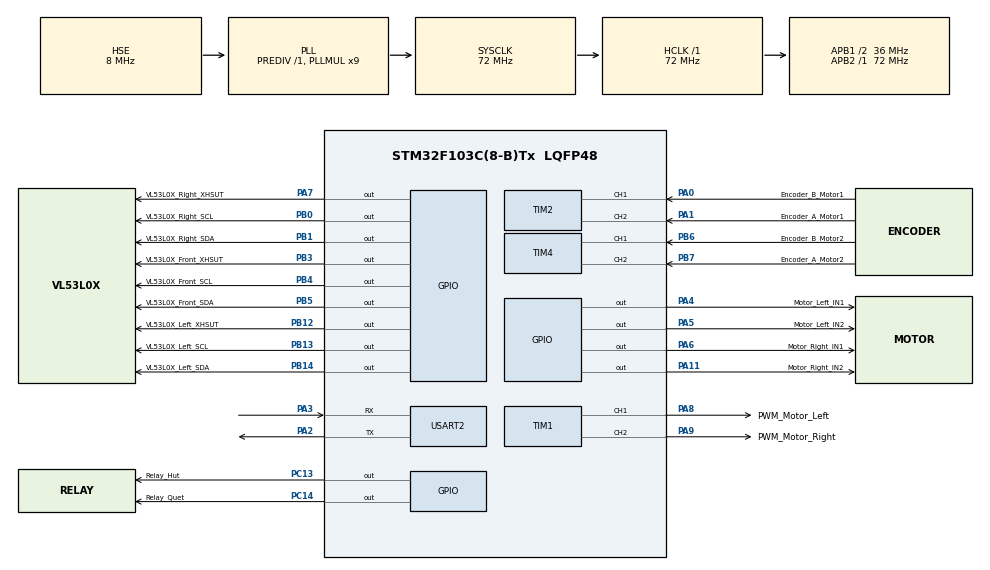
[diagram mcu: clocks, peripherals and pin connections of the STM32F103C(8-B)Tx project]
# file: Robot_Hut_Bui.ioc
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Dma.Request0=USART2_TX
Dma.USART2_TX.0.Direction=DMA_MEMORY_TO_PERIPH
Dma.USART2_TX.0.Instance=DMA1_Channel7
Dma.USART2_TX.0.MemDataAlignment=DMA_MDATAALIGN_BYTE
Dma.USART2_TX.0.MemInc=DMA_MINC_ENABLE
Dma.USART2_TX.0.Mode=DMA_NORMAL
Dma.USART2_TX.0.PeriphDataAlignment=DMA_PDATAALIGN_BYTE
Dma.USART2_TX.0.PeriphInc=DMA_PINC_DISABLE
Dma.USART2_TX.0.Priority=DMA_PRIORITY_LOW
Mcu.Family=STM32F1
Mcu.Name=STM32F103C(8-B)Tx
Mcu.Package=LQFP48
NVIC.DMA1_Channel7_IRQn=true\:0\:0\:false\:false\:true\:false\:true\:true
NVIC.PriorityGroup=NVIC_PRIORITYGROUP_4
NVIC.TIM3_IRQn=true\:2\:0\:true\:false\:true\:true\:true\:true
NVIC.USART2_IRQn=true\:1\:0\:true\:false\:true\:true\:true\:true
PA0-WKUP.GPIO_Label=Encoder_B_Motor1
PA0-WKUP.Signal=S_TIM2_CH1_ETR
PA1.GPIO_Label=Encoder_A_Motor1
PA1.Signal=S_TIM2_CH2
PA11.GPIO_Label=Motor_Right_IN2
PA11.Signal=GPIO_Output
PA13.Mode=Serial_Wire
PA13.Signal=SYS_JTMS-SWDIO
PA14.Mode=Serial_Wire
PA14.Signal=SYS_JTCK-SWCLK
PA2.Mode=Asynchronous
PA2.Signal=USART2_TX
PA3.Mode=Asynchronous
PA3.Signal=USART2_RX
PA4.GPIO_Label=Motor_Left_IN1
PA4.Signal=GPIO_Output
PA5.GPIO_Label=Motor_Left_IN2
PA5.Signal=GPIO_Output
PA6.GPIO_Label=Motor_Right_IN1
PA6.Signal=GPIO_Output
PA7.GPIO_Label=VL53L0X_Right_XHSUT
PA7.Signal=GPIO_Output
PA8.GPIO_Label=PWM_Motor_Left
PA8.Signal=S_TIM1_CH1
PA9.GPIO_Label=PWM_Motor_Right
PA9.Signal=S_TIM1_CH2
PB0.GPIO_Label=VL53L0X_Right_SCL
PB0.GPIO_ModeDefaultOutputPP=GPIO_MODE_OUTPUT_OD
PB0.GPIO_PuPd=GPIO_PULLUP
PB0.GPIO_Speed=GPIO_SPEED_FREQ_HIGH
PB0.PinState=GPIO_PIN_RESET
PB0.Signal=GPIO_Output
PB1.GPIO_Label=VL53L0X_Right_SDA
PB1.GPIO_ModeDefaultOutputPP=GPIO_MODE_OUTPUT_OD
PB1.GPIO_PuPd=GPIO_PULLUP
PB1.GPIO_Speed=GPIO_SPEED_FREQ_HIGH
PB1.PinState=GPIO_PIN_RESET
PB1.Signal=GPIO_Output
PB12.GPIO_Label=VL53L0X_Left_XHSUT
PB12.Signal=GPIO_Output
PB13.GPIO_Label=VL53L0X_Left_SCL
PB13.GPIO_ModeDefaultOutputPP=GPIO_MODE_OUTPUT_OD
PB13.GPIO_PuPd=GPIO_PULLUP
PB13.GPIO_Speed=GPIO_SPEED_FREQ_HIGH
PB13.PinState=GPIO_PIN_RESET
PB13.Signal=GPIO_Output
PB14.GPIO_Label=VL53L0X_Left_SDA
PB14.GPIO_ModeDefaultOutputPP=GPIO_MODE_OUTPUT_OD
PB14.GPIO_PuPd=GPIO_PULLUP
PB14.GPIO_Speed=GPIO_SPEED_FREQ_HIGH
PB14.PinState=GPIO_PIN_RESET
PB14.Signal=GPIO_Output
PB3.GPIO_Label=VL53L0X_Front_XHSUT
PB3.Signal=GPIO_Output
PB4.GPIO_Label=VL53L0X_Front_SCL
PB4.GPIO_ModeDefaultOutputPP=GPIO_MODE_OUTPUT_OD
PB4.GPIO_PuPd=GPIO_PULLUP
PB4.GPIO_Speed=GPIO_SPEED_FREQ_HIGH
PB4.PinState=GPIO_PIN_RESET
PB4.Signal=GPIO_Output
PB5.GPIO_Label=VL53L0X_Front_SDA
PB5.GPIO_ModeDefaultOutputPP=GPIO_MODE_OUTPUT_OD
PB5.GPIO_PuPd=GPIO_PULLUP
PB5.GPIO_Speed=GPIO_SPEED_FREQ_HIGH
PB5.PinState=GPIO_PIN_RESET
PB5.Signal=GPIO_Output
PB6.GPIO_Label=Encoder_B_Motor2
PB6.Signal=S_TIM4_CH1
PB7.GPIO_Label=Encoder_A_Motor2
PB7.Signal=S_TIM4_CH2
PC13-TAMPER-RTC.GPIO_Label=Relay_Hut
PC13-TAMPER-RTC.Signal=GPIO_Output
PC14-OSC32_IN.GPIO_Label=Relay_Quet
PC14-OSC32_IN.Signal=GPIO_Output
PD0-OSC_IN.Mode=HSE-External-Oscillator
PD0-OSC_IN.Signal=RCC_OSC_IN
PD1-OSC_OUT.Mode=HSE-External-Oscillator
PD1-OSC_OUT.Signal=RCC_OSC_OUT
ProjectManager.HeapSize=0x200
ProjectManager.StackSize=0x400
ProjectManager.TargetToolchain=MDK-ARM V5.32
RCC.AHBFreq_Value=72000000
RCC.APB1CLKDivider=RCC_HCLK_DIV2
RCC.APB1Freq_Value=36000000
RCC.APB1TimFreq_Value=72000000
RCC.APB2Freq_Value=72000000
RCC.APB2TimFreq_Value=72000000
RCC.HCLKFreq_Value=72000000
RCC.PLLMUL=RCC_PLL_MUL9
RCC.PLLSourceVirtual=RCC_PLLSOURCE_HSE
RCC.SYSCLKFreq_VALUE=72000000
RCC.SYSCLKSource=RCC_SYSCLKSOURCE_PLLCLK
RCC.USBFreq_Value=72000000
SH.S_TIM1_CH1.0=TIM1_CH1,PWM Generation1 CH1
SH.S_TIM1_CH2.0=TIM1_CH2,PWM Generation2 CH2
SH.S_TIM2_CH1_ETR.0=TIM2_CH1,Encoder_Interface
SH.S_TIM2_CH2.0=TIM2_CH2,Encoder_Interface
SH.S_TIM4_CH1.0=TIM4_CH1,Encoder_Interface
SH.S_TIM4_CH2.0=TIM4_CH2,Encoder_Interface
TIM1.Channel-PWM\ Generation1\ CH1=TIM_CHANNEL_1
TIM1.Channel-PWM\ Generation2\ CH2=TIM_CHANNEL_2
TIM2.EncoderMode=TIM_ENCODERMODE_TI12
TIM3.Period=99
TIM3.Prescaler=7199
USART2.VirtualMode=VM_ASYNC
VP_TIM3_VS_ClockSourceINT.Mode=Internal
board=custom

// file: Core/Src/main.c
/* USER CODE BEGIN Header */
/**
  ******************************************************************************
  * @file           : main.c
  * @brief          : Main program body
  ******************************************************************************
  * @attention
  *
  * Copyright (c) 2026 STMicroelectronics.
  * All rights reserved.
  *
  * This software is licensed under terms that can be found in the LICENSE file
  * in the root directory of this software component.
  * If no LICENSE file comes with this software, it is provided AS-IS.
  *
  ******************************************************************************
  */
/* USER CODE END Header */
#include "main.h"

/* USER CODE BEGIN Includes */
#include "Motor.h"
#include "robot.h"
#include "uart.h"
#include "i2c.h"
#include "distance_sensor.h"
#include <stdarg.h>
#include <stdio.h>
#include <string.h>
/* USER CODE END Includes */

/* USER CODE BEGIN PD */
#define BUFFER_MESSAGE_SIZE 256
/* USER CODE END PD */

TIM_HandleTypeDef htim1;
TIM_HandleTypeDef htim2;
TIM_HandleTypeDef htim3;
TIM_HandleTypeDef htim4;

UART_HandleTypeDef huart2;
DMA_HandleTypeDef hdma_usart2_tx;

/* USER CODE BEGIN PV */
Motor_TypeDef motor_left, motor_right;
Robot_Typedef robot;

pid_typedef pid_left, pid_right;

Soft_I2C_TypeDef i2c_front, i2c_left, i2c_right;
VL53L0X_TypeDef distance_sensor_front, distance_sensor_left, distance_sensor_right;
/* USER CODE END PV */

void SystemClock_Config(void);
static void MX_GPIO_Init(void);
static void MX_DMA_Init(void);
static void MX_TIM1_Init(void);
static void MX_USART2_UART_Init(void);
static void MX_TIM2_Init(void);
static void MX_TIM4_Init(void);
static void MX_TIM3_Init(void);

/* USER CODE BEGIN 0 */
uint8_t data_rx;
uint8_t flag = 0;
uint8_t idx = 0;
volatile uint8_t count = 0;
char buffer[BUFFER_MESSAGE_SIZE];

HAL_StatusTypeDef transmit(const char *format, ...){
	va_list args;
	va_start(args, format);
	vsnprintf(buffer, BUFFER_MESSAGE_SIZE, format, args);
	va_end(args);
	return HAL_UART_Transmit_DMA(&huart2, (uint8_t *)buffer, strlen(buffer));
}

void HAL_UART_RxCpltCallback(UART_HandleTypeDef* huart){
	if(huart->Instance == USART2){
		uart_receive_data(data_rx);
		uart_handle(&robot);
		HAL_UART_Receive_IT(huart, &data_rx, 1);
	}
}

void HAL_TIM_ElapsedCallback(TIM_HandleTypeDef* htim){
	if(htim->Instance == htim3.Instance){
		int16_t encoder_left = (int16_t)htim4.Instance->CNT >> 2;
		htim4.Instance->CNT = 0;
		int16_t encoder_right = (int16_t)htim2.Instance->CNT >> 2;
		htim2.Instance->CNT = 0;

		count++;
		if(count == 4){
			transmit("%.2f %.2f\n", robot.v_left, robot.v_right);
		}
	}
}
/* USER CODE END 0 */

int main(void)
{

  /* MCU Configuration--------------------------------------------------------*/

  /* Reset of all peripherals, Initializes the Flash interface and the Systick. */
  HAL_Init();

  /* Configure the system clock */
  SystemClock_Config();

  /* Initialize all configured peripherals */
  MX_GPIO_Init();
  MX_DMA_Init();
  MX_TIM1_Init();
  MX_USART2_UART_Init();
  MX_TIM2_Init();
  MX_TIM4_Init();
  MX_TIM3_Init();
  /* USER CODE BEGIN 2 */
	/* initialize i2c soft */
	i2c_soft_init(&i2c_front, VL53L0X_Front_SCL_GPIO_Port, VL53L0X_Front_SCL_Pin, VL53L0X_Front_SDA_GPIO_Port, VL53L0X_Front_SDA_Pin);
	i2c_soft_init(&i2c_left, VL53L0X_Left_SCL_GPIO_Port, VL53L0X_Left_SCL_Pin, VL53L0X_Left_SDA_GPIO_Port, VL53L0X_Left_SDA_Pin);
	i2c_soft_init(&i2c_right, VL53L0X_Right_SCL_GPIO_Port, VL53L0X_Right_SCL_Pin, VL53L0X_Right_SDA_GPIO_Port, VL53L0X_Right_SDA_Pin);

	/* initialize distance sensor vl53l0x */
	if(!vl53l0x_init(&distance_sensor_front, &i2c_front, VL53L0X_Right_XHSUT_GPIO_Port, VL53L0X_Right_XHSUT_Pin, FRONT, 0)){
		transmit("Distance Sensor Front Init Fail!\n");
		Error_Handler();
	}
	if(!vl53l0x_init(&distance_sensor_left, &i2c_left, VL53L0X_Left_XHSUT_GPIO_Port, VL53L0X_Left_XHSUT_Pin, LEFT, 0)){
		transmit("Distance Sensor Left Init Fail!\n");
		Error_Handler();
	}
	if(!vl53l0x_init(&distance_sensor_right, &i2c_right, VL53L0X_Right_XHSUT_GPIO_Port, VL53L0X_Right_XHSUT_Pin, RIGHT, 0)){
		transmit("Distance Sensor Right Init Fail!\n");
		Error_Handler();
	}

	/* initialize motor and robot */
	HAL_TIM_Encoder_Start(&htim2, TIM_CHANNEL_ALL);
	HAL_TIM_Encoder_Start(&htim4, TIM_CHANNEL_ALL);
	pid_init(&pid_left, KP_LEFT, KI_LEFT, KD_LEFT, PID_OUTPUT_MIN, PID_OUTPUT_MAX, PID_SAMPLE_TIME);
	pid_init(&pid_right, KP_RIGHT, KI_RIGHT, KD_RIGHT, PID_OUTPUT_MIN, PID_OUTPUT_MAX, PID_SAMPLE_TIME);
	motor_init(&motor_left, &pid_left, Motor_Left_IN1_GPIO_Port, Motor_Left_IN1_Pin, Motor_Left_IN2_GPIO_Port, Motor_Left_IN2_Pin, &htim1, TIM_CHANNEL_1);
	motor_init(&motor_right, &pid_right, Motor_Right_IN1_GPIO_Port, Motor_Right_IN1_Pin, Motor_Right_IN2_GPIO_Port, Motor_Right_IN2_Pin, &htim1, TIM_CHANNEL_2);
	robot_init(&robot, &motor_left, &motor_right);
	HAL_TIM_Base_Start_IT(&htim3);
  /* USER CODE END 2 */

  /* Infinite loop */
  /* USER CODE BEGIN WHILE */
  while (1)
  {
		if (!vl53l0x_read_all_sensor()){
			flag = 12;
			if (list_sensor[idx] != NULL){
				if (list_sensor[idx]->state != VL53L0X_OK){
					if (list_sensor[idx]->position == RIGHT)
						transmit("Distane Sensor Front Right Get Data Error!\n");
					else if (list_sensor[idx]->position == LEFT)
						transmit("Distance Sensor Front Left Get Data Error!\n");
					else if (list_sensor[idx]->position == FRONT)
						transmit("Distance Sensor Front Get Data Error!\n");
				}
				idx = (idx + 1) % NUMS_SENSOR;
				}
			Error_Handler();
		}
    /* USER CODE END WHILE */

  }
}

void SystemClock_Config(void)
{
  RCC_OscInitTypeDef RCC_OscInitStruct = {0};
  RCC_ClkInitTypeDef RCC_ClkInitStruct = {0};

  /** Initializes the RCC Oscillators according to the specified parameters
  * in the RCC_OscInitTypeDef structure.
  */
  RCC_OscInitStruct.OscillatorType = RCC_OSCILLATORTYPE_HSE;
  RCC_OscInitStruct.HSEState = RCC_HSE_ON;
  RCC_OscInitStruct.HSEPredivValue = RCC_HSE_PREDIV_DIV1;
  RCC_OscInitStruct.HSIState = RCC_HSI_ON;
  RCC_OscInitStruct.PLL.PLLState = RCC_PLL_ON;
  RCC_OscInitStruct.PLL.PLLSource = RCC_PLLSOURCE_HSE;
  RCC_OscInitStruct.PLL.PLLMUL = RCC_PLL_MUL9;
  if (HAL_RCC_OscConfig(&RCC_OscInitStruct) != HAL_OK)
  {
    Error_Handler();
  }

  /** Initializes the CPU, AHB and APB buses clocks
  */
  RCC_ClkInitStruct.ClockType = RCC_CLOCKTYPE_HCLK|RCC_CLOCKTYPE_SYSCLK
                              |RCC_CLOCKTYPE_PCLK1|RCC_CLOCKTYPE_PCLK2;
  RCC_ClkInitStruct.SYSCLKSource = RCC_SYSCLKSOURCE_PLLCLK;
  RCC_ClkInitStruct.AHBCLKDivider = RCC_SYSCLK_DIV1;
  RCC_ClkInitStruct.APB1CLKDivider = RCC_HCLK_DIV2;
  RCC_ClkInitStruct.APB2CLKDivider = RCC_HCLK_DIV1;

  if (HAL_RCC_ClockConfig(&RCC_ClkInitStruct, FLASH_LATENCY_2) != HAL_OK)
  {
    Error_Handler();
  }
}

static void MX_TIM1_Init(void)
{

  TIM_MasterConfigTypeDef sMasterConfig = {0};
  TIM_OC_InitTypeDef sConfigOC = {0};
  TIM_BreakDeadTimeConfigTypeDef sBreakDeadTimeConfig = {0};

  htim1.Instance = TIM1;
  htim1.Init.Prescaler = 0;
  htim1.Init.CounterMode = TIM_COUNTERMODE_UP;
  htim1.Init.Period = 65535;
  htim1.Init.ClockDivision = TIM_CLOCKDIVISION_DIV1;
  htim1.Init.RepetitionCounter = 0;
  htim1.Init.AutoReloadPreload = TIM_AUTORELOAD_PRELOAD_DISABLE;
  if (HAL_TIM_PWM_Init(&htim1) != HAL_OK)
  {
    Error_Handler();
  }
  sMasterConfig.MasterOutputTrigger = TIM_TRGO_RESET;
  sMasterConfig.MasterSlaveMode = TIM_MASTERSLAVEMODE_DISABLE;
  if (HAL_TIMEx_MasterConfigSynchronization(&htim1, &sMasterConfig) != HAL_OK)
  {
    Error_Handler();
  }
  sConfigOC.OCMode = TIM_OCMODE_PWM1;
  sConfigOC.Pulse = 0;
  sConfigOC.OCPolarity = TIM_OCPOLARITY_HIGH;
  sConfigOC.OCNPolarity = TIM_OCNPOLARITY_HIGH;
  sConfigOC.OCFastMode = TIM_OCFAST_DISABLE;
  sConfigOC.OCIdleState = TIM_OCIDLESTATE_RESET;
  sConfigOC.OCNIdleState = TIM_OCNIDLESTATE_RESET;
  if (HAL_TIM_PWM_ConfigChannel(&htim1, &sConfigOC, TIM_CHANNEL_1) != HAL_OK)
  {
    Error_Handler();
  }
  if (HAL_TIM_PWM_ConfigChannel(&htim1, &sConfigOC, TIM_CHANNEL_2) != HAL_OK)
  {
    Error_Handler();
  }
  sBreakDeadTimeConfig.OffStateRunMode = TIM_OSSR_DISABLE;
  sBreakDeadTimeConfig.OffStateIDLEMode = TIM_OSSI_DISABLE;
  sBreakDeadTimeConfig.LockLevel = TIM_LOCKLEVEL_OFF;
  sBreakDeadTimeConfig.DeadTime = 0;
  sBreakDeadTimeConfig.BreakState = TIM_BREAK_DISABLE;
  sBreakDeadTimeConfig.BreakPolarity = TIM_BREAKPOLARITY_HIGH;
  sBreakDeadTimeConfig.AutomaticOutput = TIM_AUTOMATICOUTPUT_DISABLE;
  if (HAL_TIMEx_ConfigBreakDeadTime(&htim1, &sBreakDeadTimeConfig) != HAL_OK)
  {
    Error_Handler();
  }
  HAL_TIM_MspPostInit(&htim1);

}

static void MX_TIM2_Init(void)
{

  TIM_Encoder_InitTypeDef sConfig = {0};
  TIM_MasterConfigTypeDef sMasterConfig = {0};

  htim2.Instance = TIM2;
  htim2.Init.Prescaler = 0;
  htim2.Init.CounterMode = TIM_COUNTERMODE_UP;
  htim2.Init.Period = 65535;
  htim2.Init.ClockDivision = TIM_CLOCKDIVISION_DIV1;
  htim2.Init.AutoReloadPreload = TIM_AUTORELOAD_PRELOAD_DISABLE;
  sConfig.EncoderMode = TIM_ENCODERMODE_TI12;
  sConfig.IC1Polarity = TIM_ICPOLARITY_RISING;
  sConfig.IC1Selection = TIM_ICSELECTION_DIRECTTI;
  sConfig.IC1Prescaler = TIM_ICPSC_DIV1;
  sConfig.IC1Filter = 0;
  sConfig.IC2Polarity = TIM_ICPOLARITY_RISING;
  sConfig.IC2Selection = TIM_ICSELECTION_DIRECTTI;
  sConfig.IC2Prescaler = TIM_ICPSC_DIV1;
  sConfig.IC2Filter = 0;
  if (HAL_TIM_Encoder_Init(&htim2, &sConfig) != HAL_OK)
  {
    Error_Handler();
  }
  sMasterConfig.MasterOutputTrigger = TIM_TRGO_RESET;
  sMasterConfig.MasterSlaveMode = TIM_MASTERSLAVEMODE_DISABLE;
  if (HAL_TIMEx_MasterConfigSynchronization(&htim2, &sMasterConfig) != HAL_OK)
  {
    Error_Handler();
  }

}

static void MX_TIM3_Init(void)
{

  TIM_ClockConfigTypeDef sClockSourceConfig = {0};
  TIM_MasterConfigTypeDef sMasterConfig = {0};

  htim3.Instance = TIM3;
  htim3.Init.Prescaler = 7199;
  htim3.Init.CounterMode = TIM_COUNTERMODE_UP;
  htim3.Init.Period = 99;
  htim3.Init.ClockDivision = TIM_CLOCKDIVISION_DIV1;
  htim3.Init.AutoReloadPreload = TIM_AUTORELOAD_PRELOAD_DISABLE;
  if (HAL_TIM_Base_Init(&htim3) != HAL_OK)
  {
    Error_Handler();
  }
  sClockSourceConfig.ClockSource = TIM_CLOCKSOURCE_INTERNAL;
  if (HAL_TIM_ConfigClockSource(&htim3, &sClockSourceConfig) != HAL_OK)
  {
    Error_Handler();
  }
  sMasterConfig.MasterOutputTrigger = TIM_TRGO_RESET;
  sMasterConfig.MasterSlaveMode = TIM_MASTERSLAVEMODE_DISABLE;
  if (HAL_TIMEx_MasterConfigSynchronization(&htim3, &sMasterConfig) != HAL_OK)
  {
    Error_Handler();
  }

}

static void MX_TIM4_Init(void)
{

  TIM_Encoder_InitTypeDef sConfig = {0};
  TIM_MasterConfigTypeDef sMasterConfig = {0};

  htim4.Instance = TIM4;
  htim4.Init.Prescaler = 0;
  htim4.Init.CounterMode = TIM_COUNTERMODE_UP;
  htim4.Init.Period = 65535;
  htim4.Init.ClockDivision = TIM_CLOCKDIVISION_DIV1;
  htim4.Init.AutoReloadPreload = TIM_AUTORELOAD_PRELOAD_DISABLE;
  sConfig.EncoderMode = TIM_ENCODERMODE_TI1;
  sConfig.IC1Polarity = TIM_ICPOLARITY_RISING;
  sConfig.IC1Selection = TIM_ICSELECTION_DIRECTTI;
  sConfig.IC1Prescaler = TIM_ICPSC_DIV1;
  sConfig.IC1Filter = 0;
  sConfig.IC2Polarity = TIM_ICPOLARITY_RISING;
  sConfig.IC2Selection = TIM_ICSELECTION_DIRECTTI;
  sConfig.IC2Prescaler = TIM_ICPSC_DIV1;
  sConfig.IC2Filter = 0;
  if (HAL_TIM_Encoder_Init(&htim4, &sConfig) != HAL_OK)
  {
    Error_Handler();
  }
  sMasterConfig.MasterOutputTrigger = TIM_TRGO_RESET;
  sMasterConfig.MasterSlaveMode = TIM_MASTERSLAVEMODE_DISABLE;
  if (HAL_TIMEx_MasterConfigSynchronization(&htim4, &sMasterConfig) != HAL_OK)
  {
    Error_Handler();
  }

}

static void MX_USART2_UART_Init(void)
{

  huart2.Instance = USART2;
  huart2.Init.BaudRate = 115200;
  huart2.Init.WordLength = UART_WORDLENGTH_8B;
  huart2.Init.StopBits = UART_STOPBITS_1;
  huart2.Init.Parity = UART_PARITY_NONE;
  huart2.Init.Mode = UART_MODE_TX_RX;
  huart2.Init.HwFlowCtl = UART_HWCONTROL_NONE;
  huart2.Init.OverSampling = UART_OVERSAMPLING_16;
  if (HAL_UART_Init(&huart2) != HAL_OK)
  {
    Error_Handler();
  }

}

static void MX_DMA_Init(void)
{

  /* DMA controller clock enable */
  __HAL_RCC_DMA1_CLK_ENABLE();

  /* DMA interrupt init */
  /* DMA1_Channel7_IRQn interrupt configuration */
  HAL_NVIC_SetPriority(DMA1_Channel7_IRQn, 0, 0);
  HAL_NVIC_EnableIRQ(DMA1_Channel7_IRQn);

}

static void MX_GPIO_Init(void)
{
  GPIO_InitTypeDef GPIO_InitStruct = {0};

  /* GPIO Ports Clock Enable */
  __HAL_RCC_GPIOC_CLK_ENABLE();
  __HAL_RCC_GPIOD_CLK_ENABLE();
  __HAL_RCC_GPIOA_CLK_ENABLE();
  __HAL_RCC_GPIOB_CLK_ENABLE();

  /*Configure GPIO pin Output Level */
  HAL_GPIO_WritePin(GPIOC, Relay_Hut_Pin|Relay_Quet_Pin, GPIO_PIN_RESET);

  /*Configure GPIO pin Output Level */
  HAL_GPIO_WritePin(GPIOA, Motor_Left_IN1_Pin|Motor_Left_IN2_Pin|Motor_Right_IN1_Pin|VL53L0X_Right_XHSUT_Pin
                          |Motor_Right_IN2_Pin, GPIO_PIN_RESET);

  /*Configure GPIO pin Output Level */
  HAL_GPIO_WritePin(GPIOB, VL53L0X_Right_SCL_Pin|VL53L0X_Right_SDA_Pin|VL53L0X_Left_XHSUT_Pin|VL53L0X_Left_SCL_Pin
                          |VL53L0X_Left_SDA_Pin|VL53L0X_Front_XHSUT_Pin|VL53L0X_Front_SCL_Pin|VL53L0X_Front_SDA_Pin, GPIO_PIN_RESET);

  /*Configure GPIO pins : Relay_Hut_Pin Relay_Quet_Pin */
  GPIO_InitStruct.Pin = Relay_Hut_Pin|Relay_Quet_Pin;
  GPIO_InitStruct.Mode = GPIO_MODE_OUTPUT_PP;
  GPIO_InitStruct.Pull = GPIO_NOPULL;
  GPIO_InitStruct.Speed = GPIO_SPEED_FREQ_LOW;
  HAL_GPIO_Init(GPIOC, &GPIO_InitStruct);

  /*Configure GPIO pins : Motor_Left_IN1_Pin Motor_Left_IN2_Pin Motor_Right_IN1_Pin VL53L0X_Right_XHSUT_Pin
                           Motor_Right_IN2_Pin */
  GPIO_InitStruct.Pin = Motor_Left_IN1_Pin|Motor_Left_IN2_Pin|Motor_Right_IN1_Pin|VL53L0X_Right_XHSUT_Pin
                          |Motor_Right_IN2_Pin;
  GPIO_InitStruct.Mode = GPIO_MODE_OUTPUT_PP;
  GPIO_InitStruct.Pull = GPIO_NOPULL;
  GPIO_InitStruct.Speed = GPIO_SPEED_FREQ_LOW;
  HAL_GPIO_Init(GPIOA, &GPIO_InitStruct);

  /*Configure GPIO pins : VL53L0X_Right_SCL_Pin VL53L0X_Right_SDA_Pin VL53L0X_Left_SCL_Pin VL53L0X_Left_SDA_Pin
                           VL53L0X_Front_SCL_Pin VL53L0X_Front_SDA_Pin */
  GPIO_InitStruct.Pin = VL53L0X_Right_SCL_Pin|VL53L0X_Right_SDA_Pin|VL53L0X_Left_SCL_Pin|VL53L0X_Left_SDA_Pin
                          |VL53L0X_Front_SCL_Pin|VL53L0X_Front_SDA_Pin;
  GPIO_InitStruct.Mode = GPIO_MODE_OUTPUT_OD;
  GPIO_InitStruct.Pull = GPIO_PULLUP;
  GPIO_InitStruct.Speed = GPIO_SPEED_FREQ_HIGH;
  HAL_GPIO_Init(GPIOB, &GPIO_InitStruct);

  /*Configure GPIO pins : VL53L0X_Left_XHSUT_Pin VL53L0X_Front_XHSUT_Pin */
  GPIO_InitStruct.Pin = VL53L0X_Left_XHSUT_Pin|VL53L0X_Front_XHSUT_Pin;
  GPIO_InitStruct.Mode = GPIO_MODE_OUTPUT_PP;
  GPIO_InitStruct.Pull = GPIO_NOPULL;
  GPIO_InitStruct.Speed = GPIO_SPEED_FREQ_LOW;
  HAL_GPIO_Init(GPIOB, &GPIO_InitStruct);

}

void Error_Handler(void)
{
  __disable_irq();
  while (1)
  {
  }
}
